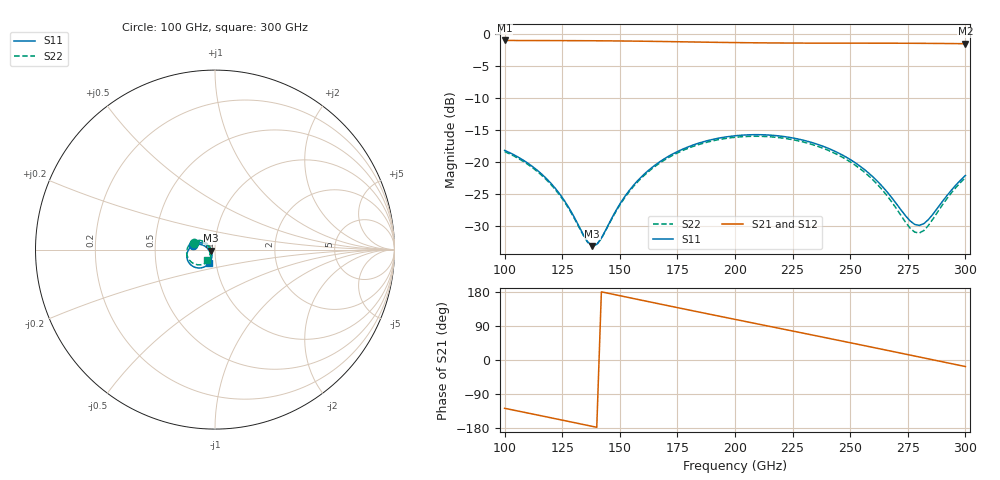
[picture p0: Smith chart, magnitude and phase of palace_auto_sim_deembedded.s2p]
! Created with skrf 1.11.0 (http://scikit-rf.org).
# GHz S DB R 50.0
!freq dBS11 angS11 dBS21 angS21 dBS12 angS12 dBS22 angS22
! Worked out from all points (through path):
!   101 points, 100 GHz to 300 GHz, reference 50 ohm
!   highest |S21| = -1.05 dB at 100 GHz (marker M1); lowest = -1.6 dB at 300 GHz (marker M2)
!   group delay of S21, straight-line fit = 3.46 ps
!   lowest |S11| = -33.0 dB at 138 GHz (marker M3), VSWR 1.05, Z = 47.9 - j0.568 ohm
!   |S11| at or under -10 dB: start of sweep to end of sweep
!   |S22| runs from -33.1 to -16.0 dB; largest |S21 - S12| = 9.7e-14
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100  -18.16 167.0  -1.05 -127.5  -1.05 -127.5  -18.34 161.8
110  -20.14 157.4  -1.06 -139.9  -1.06 -139.9  -20.32 151.7
120  -23.25 150.9  -1.07 -152.4  -1.07 -152.4  -23.43 144.8
126  -26.01 151.1  -1.08 -159.9  -1.08 -159.9  -26.19 144.8
134  -31.18 168.6  -1.09 -170.0  -1.09 -170.0  -31.29 162.1
138  -33.03 -164.6  -1.10 -175.1  -1.10 -175.1  -33.08 -171.7
142  -31.83 -134.8  -1.10 179.9  -1.10 179.9  -31.89 -142.7
148  -27.74 -114.8  -1.12 172.3  -1.12 172.3  -27.88 -123.1
154  -24.46 -111.0  -1.14 164.7  -1.14 164.7  -24.63 -119.6
168  -19.78 -118.3  -1.21 147.0  -1.21 147.0  -19.98 -127.6
184  -17.07 -133.2  -1.30 127.0  -1.30 127.0  -17.28 -143.4
200  -15.89 -149.5  -1.38 107.2  -1.38 107.2  -16.12 -160.6
216  -15.81 -165.7  -1.44 87.6  -1.44 87.6  -16.07 -177.8
234  -17.01 176.9  -1.47 65.4  -1.47 65.4  -17.31 163.5
254  -20.55 161.8  -1.47 40.6  -1.47 40.6  -20.95 146.7
262  -23.04 159.9  -1.47 30.6  -1.47 30.6  -23.54 143.9
268  -25.51 163.3  -1.48 23.0  -1.48 23.0  -26.18 146.7
276  -29.15 -175.8  -1.49 13.0  -1.49 13.0  -30.27 168.5
280  -29.85 -155.6  -1.50 7.9  -1.50 7.9  -31.03 -168.8
284  -28.92 -136.0  -1.50 2.9  -1.50 2.9  -29.83 -147.5
292  -25.20 -116.9  -1.53 -7.2  -1.53 -7.2  -25.67 -129.2
300  -22.07 -114.1  -1.56 -17.3  -1.56 -17.3  -22.41 -127.8
